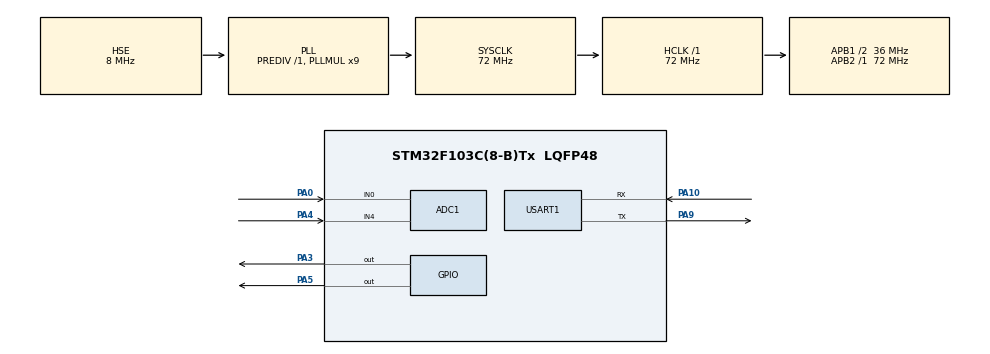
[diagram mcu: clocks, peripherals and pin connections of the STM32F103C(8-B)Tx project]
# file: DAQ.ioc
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ADC1.Channel-1\#ChannelRegularConversion=ADC_CHANNEL_0
ADC1.ContinuousConvMode=DISABLE
ADC1.NbrOfConversion=1
ADC1.NbrOfConversionFlag=1
ADC1.Rank-1\#ChannelRegularConversion=1
ADC1.SamplingTime-1\#ChannelRegularConversion=ADC_SAMPLETIME_1CYCLE_5
ADC1.master=1
Mcu.Family=STM32F1
Mcu.Name=STM32F103C(8-B)Tx
Mcu.Package=LQFP48
NVIC.PriorityGroup=NVIC_PRIORITYGROUP_4
PA0-WKUP.Signal=ADCx_IN0
PA10.Mode=Asynchronous
PA10.Signal=USART1_RX
PA13.Mode=Serial_Wire
PA13.Signal=SYS_JTMS-SWDIO
PA14.Mode=Serial_Wire
PA14.Signal=SYS_JTCK-SWCLK
PA3.GPIO_ModeDefaultOutputPP=GPIO_MODE_OUTPUT_OD
PA3.GPIO_PuPd=GPIO_NOPULL
PA3.GPIO_Speed=GPIO_SPEED_FREQ_HIGH
PA3.PinState=GPIO_PIN_RESET
PA3.Signal=GPIO_Output
PA4.Signal=ADCx_IN4
PA5.GPIO_ModeDefaultOutputPP=GPIO_MODE_OUTPUT_OD
PA5.GPIO_PuPd=GPIO_NOPULL
PA5.GPIO_Speed=GPIO_SPEED_FREQ_HIGH
PA5.Signal=GPIO_Output
PA9.Mode=Asynchronous
PA9.Signal=USART1_TX
PD0-OSC_IN.Mode=HSE-External-Oscillator
PD0-OSC_IN.Signal=RCC_OSC_IN
PD1-OSC_OUT.Mode=HSE-External-Oscillator
PD1-OSC_OUT.Signal=RCC_OSC_OUT
ProjectManager.HeapSize=0x200
ProjectManager.StackSize=0x400
ProjectManager.TargetToolchain=STM32CubeIDE
RCC.ADCPresc=RCC_ADCPCLK2_DIV6
RCC.AHBFreq_Value=72000000
RCC.APB1CLKDivider=RCC_HCLK_DIV2
RCC.APB1Freq_Value=36000000
RCC.APB1TimFreq_Value=72000000
RCC.APB2Freq_Value=72000000
RCC.APB2TimFreq_Value=72000000
RCC.HCLKFreq_Value=72000000
RCC.PLLMUL=RCC_PLL_MUL9
RCC.PLLSourceVirtual=RCC_PLLSOURCE_HSE
RCC.SYSCLKFreq_VALUE=72000000
RCC.SYSCLKSource=RCC_SYSCLKSOURCE_PLLCLK
RCC.USBFreq_Value=72000000
SH.ADCx_IN0.0=ADC1_IN0,IN0
SH.ADCx_IN4.0=ADC1_IN4,IN4
TIM2.Prescaler=71
USART1.VirtualMode=VM_ASYNC
VP_TIM1_VS_ClockSourceINT.Mode=Internal
VP_TIM2_VS_ClockSourceINT.Mode=Internal
board=custom

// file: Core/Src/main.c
/* USER CODE BEGIN Header */
/**
  ******************************************************************************
  * @file           : main.c
  * @brief          : Main program body
  ******************************************************************************
  * @attention
  *
  * Copyright (c) 2026 STMicroelectronics.
  * All rights reserved.
  *
  * This software is licensed under terms that can be found in the LICENSE file
  * in the root directory of this software component.
  * If no LICENSE file comes with this software, it is provided AS-IS.
  *
  ******************************************************************************
  */

#include <math.h>
/* USER CODE END Header */
#include "main.h"

/* USER CODE BEGIN Includes */
#include "ds18b20.h"
#include "mq8.h"
#include "acs712.h"
#include "dht22.h"

/* USER CODE END Includes */

ADC_HandleTypeDef hadc1;

TIM_HandleTypeDef htim1;
TIM_HandleTypeDef htim2;

UART_HandleTypeDef huart1;

/* USER CODE BEGIN PV */
float hum = 0;
/* USER CODE END PV */

void SystemClock_Config(void);
static void MX_GPIO_Init(void);
static void MX_USART1_UART_Init(void);
static void MX_ADC1_Init(void);
static void MX_TIM2_Init(void);
static void MX_TIM1_Init(void);

int main(void)
{

  /* MCU Configuration--------------------------------------------------------*/

  /* Reset of all peripherals, Initializes the Flash interface and the Systick. */
  HAL_Init();

  /* Configure the system clock */
  SystemClock_Config();

  /* Initialize all configured peripherals */
  MX_GPIO_Init();
  MX_USART1_UART_Init();
  MX_ADC1_Init();
  MX_TIM2_Init();
  MX_TIM1_Init();
  /* USER CODE BEGIN 2 */

  char SB = 0b01010101;
  float humidity ;
  float temp ;
  float hydrogen ;
  float current;

  DHT22_Init(&htim1);
  DS18B20_Init(&htim2);
  ACS712_GetCurrentv(&hadc1);

  /* USER CODE END 2 */

  /* Infinite loop */
  /* USER CODE BEGIN WHILE */

  while(1)
  {
      // DS18B20 channel ========================================================================
      temp = DS18B20_GetTemp();
      // MQ-8 channel ===========================================================================
      hydrogen = MQ8_GetPPM(&hadc1);
      //ACS712 channel ========================================================================
      current = ACS712_GetCurrent(&hadc1);

      humidity = DHT22_GetHumidity();

      //Main sending ========================================================================

      HAL_UART_Transmit(&huart1, (uint8_t*)&SB,       1, HAL_MAX_DELAY);
      HAL_UART_Transmit(&huart1, (uint8_t*)&temp,     4, HAL_MAX_DELAY);
      HAL_UART_Transmit(&huart1, (uint8_t*)&current,  4, HAL_MAX_DELAY);
      HAL_UART_Transmit(&huart1, (uint8_t*)&hydrogen, 4, HAL_MAX_DELAY);
      HAL_UART_Transmit(&huart1, (uint8_t*)&humidity,      4, HAL_MAX_DELAY);

      HAL_Delay(1000);

    /* USER CODE END WHILE */

  }
}

void SystemClock_Config(void)
{
  RCC_OscInitTypeDef RCC_OscInitStruct = {0};
  RCC_ClkInitTypeDef RCC_ClkInitStruct = {0};
  RCC_PeriphCLKInitTypeDef PeriphClkInit = {0};

  /** Initializes the RCC Oscillators according to the specified parameters
  * in the RCC_OscInitTypeDef structure.
  */
  RCC_OscInitStruct.OscillatorType = RCC_OSCILLATORTYPE_HSE;
  RCC_OscInitStruct.HSEState = RCC_HSE_ON;
  RCC_OscInitStruct.HSEPredivValue = RCC_HSE_PREDIV_DIV1;
  RCC_OscInitStruct.HSIState = RCC_HSI_ON;
  RCC_OscInitStruct.PLL.PLLState = RCC_PLL_ON;
  RCC_OscInitStruct.PLL.PLLSource = RCC_PLLSOURCE_HSE;
  RCC_OscInitStruct.PLL.PLLMUL = RCC_PLL_MUL9;
  if (HAL_RCC_OscConfig(&RCC_OscInitStruct) != HAL_OK)
  {
    Error_Handler();
  }

  /** Initializes the CPU, AHB and APB buses clocks
  */
  RCC_ClkInitStruct.ClockType = RCC_CLOCKTYPE_HCLK|RCC_CLOCKTYPE_SYSCLK
                              |RCC_CLOCKTYPE_PCLK1|RCC_CLOCKTYPE_PCLK2;
  RCC_ClkInitStruct.SYSCLKSource = RCC_SYSCLKSOURCE_PLLCLK;
  RCC_ClkInitStruct.AHBCLKDivider = RCC_SYSCLK_DIV1;
  RCC_ClkInitStruct.APB1CLKDivider = RCC_HCLK_DIV2;
  RCC_ClkInitStruct.APB2CLKDivider = RCC_HCLK_DIV1;

  if (HAL_RCC_ClockConfig(&RCC_ClkInitStruct, FLASH_LATENCY_2) != HAL_OK)
  {
    Error_Handler();
  }
  PeriphClkInit.PeriphClockSelection = RCC_PERIPHCLK_ADC;
  PeriphClkInit.AdcClockSelection = RCC_ADCPCLK2_DIV6;
  if (HAL_RCCEx_PeriphCLKConfig(&PeriphClkInit) != HAL_OK)
  {
    Error_Handler();
  }
}

static void MX_ADC1_Init(void)
{

  ADC_ChannelConfTypeDef sConfig = {0};

  /** Common config
  */
  hadc1.Instance = ADC1;
  hadc1.Init.ScanConvMode = ADC_SCAN_DISABLE;
  hadc1.Init.ContinuousConvMode = DISABLE;
  hadc1.Init.DiscontinuousConvMode = DISABLE;
  hadc1.Init.ExternalTrigConv = ADC_SOFTWARE_START;
  hadc1.Init.DataAlign = ADC_DATAALIGN_RIGHT;
  hadc1.Init.NbrOfConversion = 1;
  if (HAL_ADC_Init(&hadc1) != HAL_OK)
  {
    Error_Handler();
  }

  /** Configure Regular Channel
  */
  sConfig.Channel = ADC_CHANNEL_0;
  sConfig.Rank = ADC_REGULAR_RANK_1;
  sConfig.SamplingTime = ADC_SAMPLETIME_1CYCLE_5;
  if (HAL_ADC_ConfigChannel(&hadc1, &sConfig) != HAL_OK)
  {
    Error_Handler();
  }

}

static void MX_TIM1_Init(void)
{

  TIM_ClockConfigTypeDef sClockSourceConfig = {0};
  TIM_MasterConfigTypeDef sMasterConfig = {0};

  htim1.Instance = TIM1;
  htim1.Init.Prescaler = 71;
  htim1.Init.CounterMode = TIM_COUNTERMODE_UP;
  htim1.Init.Period = 65535;
  htim1.Init.ClockDivision = TIM_CLOCKDIVISION_DIV1;
  htim1.Init.RepetitionCounter = 0;
  htim1.Init.AutoReloadPreload = TIM_AUTORELOAD_PRELOAD_DISABLE;
  if (HAL_TIM_Base_Init(&htim1) != HAL_OK)
  {
    Error_Handler();
  }
  sClockSourceConfig.ClockSource = TIM_CLOCKSOURCE_INTERNAL;
  if (HAL_TIM_ConfigClockSource(&htim1, &sClockSourceConfig) != HAL_OK)
  {
    Error_Handler();
  }
  sMasterConfig.MasterOutputTrigger = TIM_TRGO_RESET;
  sMasterConfig.MasterSlaveMode = TIM_MASTERSLAVEMODE_DISABLE;
  if (HAL_TIMEx_MasterConfigSynchronization(&htim1, &sMasterConfig) != HAL_OK)
  {
    Error_Handler();
  }

}

static void MX_TIM2_Init(void)
{

  TIM_ClockConfigTypeDef sClockSourceConfig = {0};
  TIM_MasterConfigTypeDef sMasterConfig = {0};

  htim2.Instance = TIM2;
  htim2.Init.Prescaler = 71;
  htim2.Init.CounterMode = TIM_COUNTERMODE_UP;
  htim2.Init.Period = 65535;
  htim2.Init.ClockDivision = TIM_CLOCKDIVISION_DIV1;
  htim2.Init.AutoReloadPreload = TIM_AUTORELOAD_PRELOAD_DISABLE;
  if (HAL_TIM_Base_Init(&htim2) != HAL_OK)
  {
    Error_Handler();
  }
  sClockSourceConfig.ClockSource = TIM_CLOCKSOURCE_INTERNAL;
  if (HAL_TIM_ConfigClockSource(&htim2, &sClockSourceConfig) != HAL_OK)
  {
    Error_Handler();
  }
  sMasterConfig.MasterOutputTrigger = TIM_TRGO_RESET;
  sMasterConfig.MasterSlaveMode = TIM_MASTERSLAVEMODE_DISABLE;
  if (HAL_TIMEx_MasterConfigSynchronization(&htim2, &sMasterConfig) != HAL_OK)
  {
    Error_Handler();
  }

}

static void MX_USART1_UART_Init(void)
{

  huart1.Instance = USART1;
  huart1.Init.BaudRate = 115200;
  huart1.Init.WordLength = UART_WORDLENGTH_8B;
  huart1.Init.StopBits = UART_STOPBITS_1;
  huart1.Init.Parity = UART_PARITY_NONE;
  huart1.Init.Mode = UART_MODE_TX_RX;
  huart1.Init.HwFlowCtl = UART_HWCONTROL_NONE;
  huart1.Init.OverSampling = UART_OVERSAMPLING_16;
  if (HAL_UART_Init(&huart1) != HAL_OK)
  {
    Error_Handler();
  }

}

static void MX_GPIO_Init(void)
{
  GPIO_InitTypeDef GPIO_InitStruct = {0};

  /* GPIO Ports Clock Enable */
  __HAL_RCC_GPIOD_CLK_ENABLE();
  __HAL_RCC_GPIOA_CLK_ENABLE();

  /*Configure GPIO pin Output Level */
  HAL_GPIO_WritePin(GPIOA, GPIO_PIN_3|GPIO_PIN_5, GPIO_PIN_RESET);

  /*Configure GPIO pins : PA3 PA5 */
  GPIO_InitStruct.Pin = GPIO_PIN_3|GPIO_PIN_5;
  GPIO_InitStruct.Mode = GPIO_MODE_OUTPUT_OD;
  GPIO_InitStruct.Pull = GPIO_NOPULL;
  GPIO_InitStruct.Speed = GPIO_SPEED_FREQ_HIGH;
  HAL_GPIO_Init(GPIOA, &GPIO_InitStruct);

}

void Error_Handler(void)
{
  __disable_irq();
  while (1)
  {
  }
}
